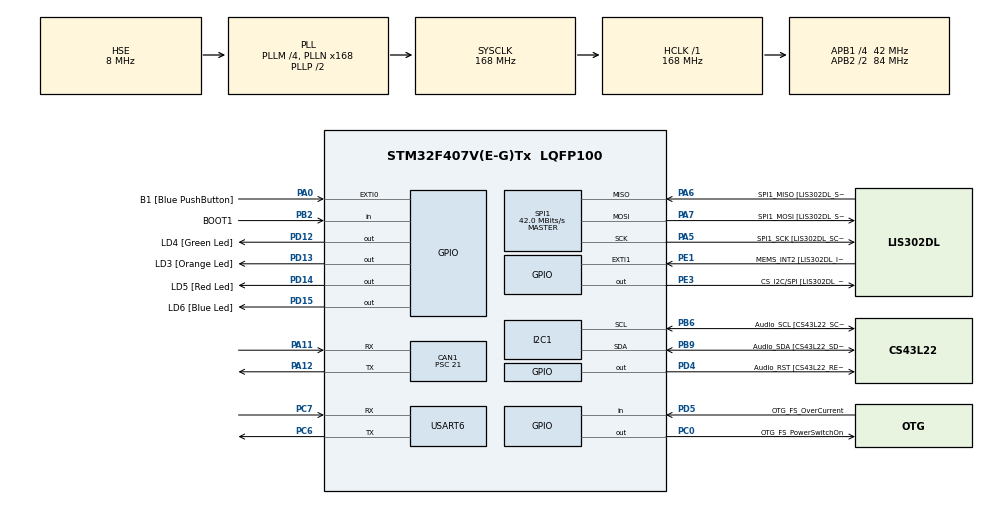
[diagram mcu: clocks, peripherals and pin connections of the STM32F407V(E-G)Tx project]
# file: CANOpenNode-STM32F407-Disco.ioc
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CAN1.BS1=CAN_BS1_14TQ
CAN1.BS2=CAN_BS2_5TQ
CAN1.CalculateBaudRate=100000
CAN1.CalculateTimeBit=10000
CAN1.CalculateTimeQuantum=500.0
CAN1.Mode=CAN_MODE_LOOPBACK
CAN1.Prescaler=21
Mcu.Family=STM32F4
Mcu.Name=STM32F407V(E-G)Tx
Mcu.Package=LQFP100
NVIC.CAN1_RX0_IRQn=true\:0\:0\:false\:false\:true\:true\:true\:true
NVIC.CAN1_RX1_IRQn=true\:0\:0\:false\:false\:true\:true\:true\:true
NVIC.CAN1_SCE_IRQn=true\:0\:0\:false\:false\:true\:true\:true\:true
NVIC.CAN1_TX_IRQn=true\:0\:0\:false\:false\:true\:true\:true\:true
NVIC.PriorityGroup=NVIC_PRIORITYGROUP_0
NVIC.TIM8_TRG_COM_TIM14_IRQn=true\:0\:0\:false\:false\:true\:true\:true\:true
NVIC.USART6_IRQn=true\:0\:0\:false\:false\:true\:true\:true\:true
PA0-WKUP.GPIO_Label=B1 [Blue PushButton]
PA0-WKUP.GPIO_ModeDefaultEXTI=GPIO_MODE_EVT_RISING
PA0-WKUP.GPIO_PuPd=GPIO_NOPULL
PA0-WKUP.Signal=GPXTI0
PA10.GPIO_Label=OTG_FS_ID
PA10.GPIO_Mode=GPIO_MODE_AF_PP
PA10.GPIO_PuPd=GPIO_NOPULL
PA10.GPIO_Speed=GPIO_SPEED_FREQ_LOW
PA10.Signal=USB_OTG_FS_ID
PA11.Mode=CAN_Activate
PA11.Signal=CAN1_RX
PA12.Mode=CAN_Activate
PA12.Signal=CAN1_TX
PA13.GPIO_Label=SWDIO
PA13.Mode=Serial_Wire
PA13.Signal=SYS_JTMS-SWDIO
PA14.GPIO_Label=SWCLK
PA14.Mode=Serial_Wire
PA14.Signal=SYS_JTCK-SWCLK
PA4.GPIO_Label=I2S3_WS [CS43L22_LRCK]
PA4.GPIO_Mode=GPIO_MODE_AF_PP
PA4.GPIO_PuPd=GPIO_NOPULL
PA4.GPIO_Speed=GPIO_SPEED_FREQ_LOW
PA4.Signal=I2S3_WS
PA5.GPIO_Label=SPI1_SCK [LIS302DL_SCL/SPC]
PA5.GPIO_Mode=GPIO_MODE_AF_PP
PA5.GPIO_PuPd=GPIO_NOPULL
PA5.GPIO_Speed=GPIO_SPEED_FREQ_LOW
PA5.Mode=Full_Duplex_Master
PA5.Signal=SPI1_SCK
PA6.GPIO_Label=SPI1_MISO [LIS302DL_SDO]
PA6.GPIO_Mode=GPIO_MODE_AF_PP
PA6.GPIO_PuPd=GPIO_NOPULL
PA6.GPIO_Speed=GPIO_SPEED_FREQ_LOW
PA6.Mode=Full_Duplex_Master
PA6.Signal=SPI1_MISO
PA7.GPIO_Label=SPI1_MOSI [LIS302DL_SDA/SDI/SDO]
PA7.GPIO_Mode=GPIO_MODE_AF_PP
PA7.GPIO_PuPd=GPIO_NOPULL
PA7.GPIO_Speed=GPIO_SPEED_FREQ_LOW
PA7.Mode=Full_Duplex_Master
PA7.Signal=SPI1_MOSI
PA9.GPIO_Label=VBUS_FS
PA9.GPIO_Mode=GPIO_MODE_INPUT
PA9.GPIO_PuPd=GPIO_NOPULL
PA9.Signal=USB_OTG_FS_VBUS
PB10.GPIO_Label=CLK_IN [MP45DT02_CLK]
PB10.GPIO_Mode=GPIO_MODE_AF_PP
PB10.GPIO_PuPd=GPIO_NOPULL
PB10.GPIO_Speed=GPIO_SPEED_FREQ_LOW
PB10.Signal=I2S2_CK
PB2.GPIO_Label=BOOT1
PB2.GPIO_Mode=GPIO_MODE_INPUT
PB2.GPIO_PuPd=GPIO_NOPULL
PB2.Signal=GPIO_Input
PB3.GPIO_Label=SWO
PB3.Signal=SYS_JTDO-SWO
PB5.Signal=CAN2_RX
PB6.GPIO_Label=Audio_SCL [CS43L22_SCL]
PB6.GPIO_Mode=GPIO_MODE_AF_OD
PB6.GPIO_Pu=GPIO_PULLUP
PB6.GPIO_PuPd=GPIO_NOPULL
PB6.GPIO_Speed=GPIO_SPEED_FREQ_LOW
PB6.Mode=I2C
PB6.Signal=I2C1_SCL
PB9.GPIO_Label=Audio_SDA [CS43L22_SDA]
PB9.GPIO_Mode=GPIO_MODE_AF_OD
PB9.GPIO_Pu=GPIO_PULLUP
PB9.GPIO_PuPd=GPIO_NOPULL
PB9.GPIO_Speed=GPIO_SPEED_FREQ_LOW
PB9.Mode=I2C
PB9.Signal=I2C1_SDA
PC0.GPIO_Label=OTG_FS_PowerSwitchOn
PC0.GPIO_PuPd=GPIO_NOPULL
PC0.GPIO_Speed=GPIO_SPEED_FREQ_LOW
PC0.PinState=GPIO_PIN_SET
PC0.Signal=GPIO_Output
PC10.GPIO_Label=I2S3_SCK [CS43L22_SCLK]
PC10.GPIO_Mode=GPIO_MODE_AF_PP
PC10.GPIO_PuPd=GPIO_NOPULL
PC10.GPIO_Speed=GPIO_SPEED_FREQ_LOW
PC10.Signal=I2S3_CK
PC12.GPIO_Label=I2S3_SD [CS43L22_SDIN]
PC12.GPIO_Mode=GPIO_MODE_AF_PP
PC12.GPIO_PuPd=GPIO_NOPULL
PC12.GPIO_Speed=GPIO_SPEED_FREQ_LOW
PC12.Signal=I2S3_SD
PC14-OSC32_IN.GPIO_Label=PC14-OSC32_IN
PC14-OSC32_IN.Mode=LSE-External-Oscillator
PC14-OSC32_IN.Signal=RCC_OSC32_IN
PC15-OSC32_OUT.GPIO_Label=PC15-OSC32_OUT
PC15-OSC32_OUT.Mode=LSE-External-Oscillator
PC15-OSC32_OUT.Signal=RCC_OSC32_OUT
PC3.GPIO_Label=PDM_OUT [MP45DT02_DOUT]
PC3.GPIO_Mode=GPIO_MODE_AF_PP
PC3.GPIO_PuPd=GPIO_NOPULL
PC3.GPIO_Speed=GPIO_SPEED_FREQ_LOW
PC3.Signal=I2S2_SD
PC6.Mode=Asynchronous
PC6.Signal=USART6_TX
PC7.Mode=Asynchronous
PC7.Signal=USART6_RX
PD12.GPIO_Label=LD4 [Green Led]
PD12.GPIO_PuPd=GPIO_NOPULL
PD12.GPIO_Speed=GPIO_SPEED_FREQ_LOW
PD12.Signal=GPIO_Output
PD13.GPIO_Label=LD3 [Orange Led]
PD13.GPIO_PuPd=GPIO_NOPULL
PD13.GPIO_Speed=GPIO_SPEED_FREQ_LOW
PD13.Signal=GPIO_Output
PD14.GPIO_Label=LD5 [Red Led]
PD14.GPIO_PuPd=GPIO_NOPULL
PD14.GPIO_Speed=GPIO_SPEED_FREQ_LOW
PD14.Signal=GPIO_Output
PD15.GPIO_Label=LD6 [Blue Led]
PD15.GPIO_PuPd=GPIO_NOPULL
PD15.GPIO_Speed=GPIO_SPEED_FREQ_LOW
PD15.Signal=GPIO_Output
PD4.GPIO_Label=Audio_RST [CS43L22_RESET]
PD4.GPIO_PuPd=GPIO_NOPULL
PD4.GPIO_Speed=GPIO_SPEED_FREQ_LOW
PD4.Signal=GPIO_Output
PD5.GPIO_Label=OTG_FS_OverCurrent
PD5.GPIO_Mode=GPIO_MODE_INPUT
PD5.GPIO_PuPd=GPIO_NOPULL
PD5.Signal=GPIO_Input
PE1.GPIO_Label=MEMS_INT2 [LIS302DL_INT2]
PE1.GPIO_ModeDefaultEXTI=GPIO_MODE_EVT_RISING
PE1.GPIO_PuPd=GPIO_NOPULL
PE1.Signal=GPXTI1
PE3.GPIO_Label=CS_I2C/SPI [LIS302DL_CS_I2C/SPI]
PE3.GPIO_PuPd=GPIO_NOPULL
PE3.GPIO_Speed=GPIO_SPEED_FREQ_LOW
PE3.Signal=GPIO_Output
PH0-OSC_IN.GPIO_Label=PH0-OSC_IN
PH0-OSC_IN.Mode=HSE-External-Oscillator
PH0-OSC_IN.Signal=RCC_OSC_IN
PH1-OSC_OUT.GPIO_Label=PH1-OSC_OUT
PH1-OSC_OUT.Mode=HSE-External-Oscillator
PH1-OSC_OUT.Signal=RCC_OSC_OUT
ProjectManager.HeapSize=0x200
ProjectManager.StackSize=0x400
ProjectManager.TargetToolchain=STM32CubeIDE
RCC.48MHZClocksFreq_Value=48000000
RCC.AHBFreq_Value=168000000
RCC.APB1CLKDivider=RCC_HCLK_DIV4
RCC.APB1Freq_Value=42000000
RCC.APB1TimFreq_Value=84000000
RCC.APB2CLKDivider=RCC_HCLK_DIV2
RCC.APB2Freq_Value=84000000
RCC.APB2TimFreq_Value=168000000
RCC.CortexFreq_Value=168000000
RCC.HCLKFreq_Value=168000000
RCC.HSE_VALUE=8000000
RCC.HSI_VALUE=16000000
RCC.PLLI2SN=50
RCC.PLLM=4
RCC.PLLN=168
RCC.PLLQ=7
RCC.PLLSourceVirtual=RCC_PLLSOURCE_HSE
RCC.SYSCLKFreq_VALUE=168000000
RCC.SYSCLKSource=RCC_SYSCLKSOURCE_PLLCLK
RCC.VCOOutputFreq_Value=336000000
SPI1.BaudRatePrescaler=SPI_BAUDRATEPRESCALER_2
SPI1.BaudRatePrescaler-Full_Duplex_Master=SPI_BAUDRATEPRESCALER_2
SPI1.CalculateBaudRate=42.0 MBits/s
SPI1.CalculateBaudRate-Full_Duplex_Master=42.0 MBits/s
SPI1.Direction=SPI_DIRECTION_2LINES
SPI1.Mode=SPI_MODE_MASTER
SPI1.Mode-Full_Duplex_Master=SPI_MODE_MASTER
SPI1.VirtualType=VM_MASTER
TIM14.Period=1000
TIM14.Prescaler=83
USART6.VirtualMode=VM_ASYNC
VP_TIM14_VS_ClockSourceINT.Mode=Enable_Timer
board=STM32F407G-DISC1

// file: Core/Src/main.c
/* USER CODE BEGIN Header */
/**
  ******************************************************************************
  * @file           : main.c
  * @brief          : Main program body
  ******************************************************************************
  * @attention
  *
  * Copyright (c) 2022 STMicroelectronics.
  * All rights reserved.
  *
  * This software is licensed under terms that can be found in the LICENSE file
  * in the root directory of this software component.
  * If no LICENSE file comes with this software, it is provided AS-IS.
  *
  ******************************************************************************
  */
/* USER CODE END Header */
#include "main.h"

/* USER CODE BEGIN Includes */
#include "CO_app_STM32.h"
/* USER CODE END Includes */

/* USER CODE BEGIN PD */
#define UART_NODE

#ifdef UART_NODE
#define CANOPEN_ID 1
#else
#define CANOPEN_ID 3
#endif
/* USER CODE END PD */

CAN_HandleTypeDef hcan1;

I2C_HandleTypeDef hi2c1;

SPI_HandleTypeDef hspi1;

TIM_HandleTypeDef htim14;

UART_HandleTypeDef huart6;

void SystemClock_Config(void);
static void MX_GPIO_Init(void);
static void MX_I2C1_Init(void);
static void MX_SPI1_Init(void);
static void MX_TIM14_Init(void);
static void MX_CAN1_Init(void);
static void MX_USART6_UART_Init(void);

/* USER CODE BEGIN 0 */
/* Timer interrupt function executes every 1 ms */
void
HAL_TIM_PeriodElapsedCallback(TIM_HandleTypeDef* htim) {
    if (htim == canopenNodeSTM32->timerHandle) {
        canopen_app_interrupt();
    }
}
/* USER CODE END 0 */

int main(void)
{

  /* MCU Configuration--------------------------------------------------------*/

  /* Reset of all peripherals, Initializes the Flash interface and the Systick. */
  HAL_Init();

  /* Configure the system clock */
  SystemClock_Config();

  /* Initialize all configured peripherals */
  MX_GPIO_Init();
  MX_I2C1_Init();
  MX_SPI1_Init();
  MX_TIM14_Init();
  MX_CAN1_Init();
  MX_USART6_UART_Init();
  /* USER CODE BEGIN 2 */
  CANopenNodeSTM32 canOpenNodeSTM32;
  canOpenNodeSTM32.CANHandle = &hcan1;
  canOpenNodeSTM32.HWInitFunction = MX_CAN1_Init;
  canOpenNodeSTM32.timerHandle = &htim14;
  canOpenNodeSTM32.desiredNodeID = 1;
  canOpenNodeSTM32.baudrate = 100;
  canopen_app_init(&canOpenNodeSTM32);
  /* USER CODE END 2 */

  /* Infinite loop */
  /* USER CODE BEGIN WHILE */
  while (1)
  {
	  HAL_GPIO_WritePin(LD3_GPIO_Port, LD3_Pin, !canOpenNodeSTM32.outStatusLEDGreen);
	  HAL_GPIO_WritePin(LD4_GPIO_Port, LD4_Pin, !canOpenNodeSTM32.outStatusLEDRed);
	  canopen_app_process();
    /* USER CODE END WHILE */

  }
}

void SystemClock_Config(void)
{
  RCC_OscInitTypeDef RCC_OscInitStruct = {0};
  RCC_ClkInitTypeDef RCC_ClkInitStruct = {0};

  /** Configure the main internal regulator output voltage
  */
  __HAL_RCC_PWR_CLK_ENABLE();
  __HAL_PWR_VOLTAGESCALING_CONFIG(PWR_REGULATOR_VOLTAGE_SCALE1);

  /** Initializes the RCC Oscillators according to the specified parameters
  * in the RCC_OscInitTypeDef structure.
  */
  RCC_OscInitStruct.OscillatorType = RCC_OSCILLATORTYPE_HSE;
  RCC_OscInitStruct.HSEState = RCC_HSE_ON;
  RCC_OscInitStruct.PLL.PLLState = RCC_PLL_ON;
  RCC_OscInitStruct.PLL.PLLSource = RCC_PLLSOURCE_HSE;
  RCC_OscInitStruct.PLL.PLLM = 4;
  RCC_OscInitStruct.PLL.PLLN = 168;
  RCC_OscInitStruct.PLL.PLLP = RCC_PLLP_DIV2;
  RCC_OscInitStruct.PLL.PLLQ = 7;
  if (HAL_RCC_OscConfig(&RCC_OscInitStruct) != HAL_OK)
  {
    Error_Handler();
  }

  /** Initializes the CPU, AHB and APB buses clocks
  */
  RCC_ClkInitStruct.ClockType = RCC_CLOCKTYPE_HCLK|RCC_CLOCKTYPE_SYSCLK
                              |RCC_CLOCKTYPE_PCLK1|RCC_CLOCKTYPE_PCLK2;
  RCC_ClkInitStruct.SYSCLKSource = RCC_SYSCLKSOURCE_PLLCLK;
  RCC_ClkInitStruct.AHBCLKDivider = RCC_SYSCLK_DIV1;
  RCC_ClkInitStruct.APB1CLKDivider = RCC_HCLK_DIV4;
  RCC_ClkInitStruct.APB2CLKDivider = RCC_HCLK_DIV2;

  if (HAL_RCC_ClockConfig(&RCC_ClkInitStruct, FLASH_LATENCY_5) != HAL_OK)
  {
    Error_Handler();
  }
}

static void MX_CAN1_Init(void)
{

  hcan1.Instance = CAN1;
  hcan1.Init.Prescaler = 21;
  hcan1.Init.Mode = CAN_MODE_LOOPBACK;
  hcan1.Init.SyncJumpWidth = CAN_SJW_1TQ;
  hcan1.Init.TimeSeg1 = CAN_BS1_14TQ;
  hcan1.Init.TimeSeg2 = CAN_BS2_5TQ;
  hcan1.Init.TimeTriggeredMode = DISABLE;
  hcan1.Init.AutoBusOff = DISABLE;
  hcan1.Init.AutoWakeUp = DISABLE;
  hcan1.Init.AutoRetransmission = DISABLE;
  hcan1.Init.ReceiveFifoLocked = DISABLE;
  hcan1.Init.TransmitFifoPriority = DISABLE;
  if (HAL_CAN_Init(&hcan1) != HAL_OK)
  {
    Error_Handler();
  }
  /* USER CODE BEGIN CAN1_Init 2 */
//  CAN_FilterTypeDef sFilterConfig;
//   sFilterConfig.FilterBank = 0;
//   sFilterConfig.FilterMode = CAN_FILTERMODE_IDMASK;
//   sFilterConfig.FilterScale = CAN_FILTERSCALE_32BIT;
//   sFilterConfig.FilterIdHigh = 0x0000;
//   sFilterConfig.FilterIdLow = 0x0000;
//   sFilterConfig.FilterMaskIdHigh = 0x0000;
//   sFilterConfig.FilterMaskIdLow = 0x0000;
//   sFilterConfig.FilterFIFOAssignment = CAN_FILTER_FIFO0;
//   sFilterConfig.FilterActivation = ENABLE;
//   sFilterConfig.SlaveStartFilterBank = 14;
//   if(HAL_CAN_ConfigFilter(&hcan1, &sFilterConfig) != HAL_OK)
//   {
// 	  Error_Handler();
//   }
  /* USER CODE END CAN1_Init 2 */

}

static void MX_I2C1_Init(void)
{

  hi2c1.Instance = I2C1;
  hi2c1.Init.ClockSpeed = 100000;
  hi2c1.Init.DutyCycle = I2C_DUTYCYCLE_2;
  hi2c1.Init.OwnAddress1 = 0;
  hi2c1.Init.AddressingMode = I2C_ADDRESSINGMODE_7BIT;
  hi2c1.Init.DualAddressMode = I2C_DUALADDRESS_DISABLE;
  hi2c1.Init.OwnAddress2 = 0;
  hi2c1.Init.GeneralCallMode = I2C_GENERALCALL_DISABLE;
  hi2c1.Init.NoStretchMode = I2C_NOSTRETCH_DISABLE;
  if (HAL_I2C_Init(&hi2c1) != HAL_OK)
  {
    Error_Handler();
  }

}

static void MX_SPI1_Init(void)
{

  /* SPI1 parameter configuration*/
  hspi1.Instance = SPI1;
  hspi1.Init.Mode = SPI_MODE_MASTER;
  hspi1.Init.Direction = SPI_DIRECTION_2LINES;
  hspi1.Init.DataSize = SPI_DATASIZE_8BIT;
  hspi1.Init.CLKPolarity = SPI_POLARITY_LOW;
  hspi1.Init.CLKPhase = SPI_PHASE_1EDGE;
  hspi1.Init.NSS = SPI_NSS_SOFT;
  hspi1.Init.BaudRatePrescaler = SPI_BAUDRATEPRESCALER_2;
  hspi1.Init.FirstBit = SPI_FIRSTBIT_MSB;
  hspi1.Init.TIMode = SPI_TIMODE_DISABLE;
  hspi1.Init.CRCCalculation = SPI_CRCCALCULATION_DISABLE;
  hspi1.Init.CRCPolynomial = 10;
  if (HAL_SPI_Init(&hspi1) != HAL_OK)
  {
    Error_Handler();
  }

}

static void MX_TIM14_Init(void)
{

  htim14.Instance = TIM14;
  htim14.Init.Prescaler = 83;
  htim14.Init.CounterMode = TIM_COUNTERMODE_UP;
  htim14.Init.Period = 1000;
  htim14.Init.ClockDivision = TIM_CLOCKDIVISION_DIV1;
  htim14.Init.AutoReloadPreload = TIM_AUTORELOAD_PRELOAD_DISABLE;
  if (HAL_TIM_Base_Init(&htim14) != HAL_OK)
  {
    Error_Handler();
  }

}

static void MX_USART6_UART_Init(void)
{

  huart6.Instance = USART6;
  huart6.Init.BaudRate = 115200;
  huart6.Init.WordLength = UART_WORDLENGTH_8B;
  huart6.Init.StopBits = UART_STOPBITS_1;
  huart6.Init.Parity = UART_PARITY_NONE;
  huart6.Init.Mode = UART_MODE_TX_RX;
  huart6.Init.HwFlowCtl = UART_HWCONTROL_NONE;
  huart6.Init.OverSampling = UART_OVERSAMPLING_16;
  if (HAL_UART_Init(&huart6) != HAL_OK)
  {
    Error_Handler();
  }

}

static void MX_GPIO_Init(void)
{
  GPIO_InitTypeDef GPIO_InitStruct = {0};

  /* GPIO Ports Clock Enable */
  __HAL_RCC_GPIOE_CLK_ENABLE();
  __HAL_RCC_GPIOC_CLK_ENABLE();
  __HAL_RCC_GPIOH_CLK_ENABLE();
  __HAL_RCC_GPIOA_CLK_ENABLE();
  __HAL_RCC_GPIOB_CLK_ENABLE();
  __HAL_RCC_GPIOD_CLK_ENABLE();

  /*Configure GPIO pin Output Level */
  HAL_GPIO_WritePin(CS_I2C_SPI_GPIO_Port, CS_I2C_SPI_Pin, GPIO_PIN_RESET);

  /*Configure GPIO pin Output Level */
  HAL_GPIO_WritePin(OTG_FS_PowerSwitchOn_GPIO_Port, OTG_FS_PowerSwitchOn_Pin, GPIO_PIN_SET);

  /*Configure GPIO pin Output Level */
  HAL_GPIO_WritePin(GPIOD, LD4_Pin|LD3_Pin|LD5_Pin|LD6_Pin
                          |Audio_RST_Pin, GPIO_PIN_RESET);

  /*Configure GPIO pin : CS_I2C_SPI_Pin */
  GPIO_InitStruct.Pin = CS_I2C_SPI_Pin;
  GPIO_InitStruct.Mode = GPIO_MODE_OUTPUT_PP;
  GPIO_InitStruct.Pull = GPIO_NOPULL;
  GPIO_InitStruct.Speed = GPIO_SPEED_FREQ_LOW;
  HAL_GPIO_Init(CS_I2C_SPI_GPIO_Port, &GPIO_InitStruct);

  /*Configure GPIO pin : OTG_FS_PowerSwitchOn_Pin */
  GPIO_InitStruct.Pin = OTG_FS_PowerSwitchOn_Pin;
  GPIO_InitStruct.Mode = GPIO_MODE_OUTPUT_PP;
  GPIO_InitStruct.Pull = GPIO_NOPULL;
  GPIO_InitStruct.Speed = GPIO_SPEED_FREQ_LOW;
  HAL_GPIO_Init(OTG_FS_PowerSwitchOn_GPIO_Port, &GPIO_InitStruct);

  /*Configure GPIO pin : PDM_OUT_Pin */
  GPIO_InitStruct.Pin = PDM_OUT_Pin;
  GPIO_InitStruct.Mode = GPIO_MODE_AF_PP;
  GPIO_InitStruct.Pull = GPIO_NOPULL;
  GPIO_InitStruct.Speed = GPIO_SPEED_FREQ_LOW;
  GPIO_InitStruct.Alternate = GPIO_AF5_SPI2;
  HAL_GPIO_Init(PDM_OUT_GPIO_Port, &GPIO_InitStruct);

  /*Configure GPIO pin : B1_Pin */
  GPIO_InitStruct.Pin = B1_Pin;
  GPIO_InitStruct.Mode = GPIO_MODE_EVT_RISING;
  GPIO_InitStruct.Pull = GPIO_NOPULL;
  HAL_GPIO_Init(B1_GPIO_Port, &GPIO_InitStruct);

  /*Configure GPIO pin : I2S3_WS_Pin */
  GPIO_InitStruct.Pin = I2S3_WS_Pin;
  GPIO_InitStruct.Mode = GPIO_MODE_AF_PP;
  GPIO_InitStruct.Pull = GPIO_NOPULL;
  GPIO_InitStruct.Speed = GPIO_SPEED_FREQ_LOW;
  GPIO_InitStruct.Alternate = GPIO_AF6_SPI3;
  HAL_GPIO_Init(I2S3_WS_GPIO_Port, &GPIO_InitStruct);

  /*Configure GPIO pin : BOOT1_Pin */
  GPIO_InitStruct.Pin = BOOT1_Pin;
  GPIO_InitStruct.Mode = GPIO_MODE_INPUT;
  GPIO_InitStruct.Pull = GPIO_NOPULL;
  HAL_GPIO_Init(BOOT1_GPIO_Port, &GPIO_InitStruct);

  /*Configure GPIO pin : CLK_IN_Pin */
  GPIO_InitStruct.Pin = CLK_IN_Pin;
  GPIO_InitStruct.Mode = GPIO_MODE_AF_PP;
  GPIO_InitStruct.Pull = GPIO_NOPULL;
  GPIO_InitStruct.Speed = GPIO_SPEED_FREQ_LOW;
  GPIO_InitStruct.Alternate = GPIO_AF5_SPI2;
  HAL_GPIO_Init(CLK_IN_GPIO_Port, &GPIO_InitStruct);

  /*Configure GPIO pins : LD4_Pin LD3_Pin LD5_Pin LD6_Pin
                           Audio_RST_Pin */
  GPIO_InitStruct.Pin = LD4_Pin|LD3_Pin|LD5_Pin|LD6_Pin
                          |Audio_RST_Pin;
  GPIO_InitStruct.Mode = GPIO_MODE_OUTPUT_PP;
  GPIO_InitStruct.Pull = GPIO_NOPULL;
  GPIO_InitStruct.Speed = GPIO_SPEED_FREQ_LOW;
  HAL_GPIO_Init(GPIOD, &GPIO_InitStruct);

  /*Configure GPIO pin : VBUS_FS_Pin */
  GPIO_InitStruct.Pin = VBUS_FS_Pin;
  GPIO_InitStruct.Mode = GPIO_MODE_INPUT;
  GPIO_InitStruct.Pull = GPIO_NOPULL;
  HAL_GPIO_Init(VBUS_FS_GPIO_Port, &GPIO_InitStruct);

  /*Configure GPIO pin : OTG_FS_ID_Pin */
  GPIO_InitStruct.Pin = OTG_FS_ID_Pin;
  GPIO_InitStruct.Mode = GPIO_MODE_AF_PP;
  GPIO_InitStruct.Pull = GPIO_NOPULL;
  GPIO_InitStruct.Speed = GPIO_SPEED_FREQ_LOW;
  GPIO_InitStruct.Alternate = GPIO_AF10_OTG_FS;
  HAL_GPIO_Init(OTG_FS_ID_GPIO_Port, &GPIO_InitStruct);

  /*Configure GPIO pins : I2S3_SCK_Pin I2S3_SD_Pin */
  GPIO_InitStruct.Pin = I2S3_SCK_Pin|I2S3_SD_Pin;
  GPIO_InitStruct.Mode = GPIO_MODE_AF_PP;
  GPIO_InitStruct.Pull = GPIO_NOPULL;
  GPIO_InitStruct.Speed = GPIO_SPEED_FREQ_LOW;
  GPIO_InitStruct.Alternate = GPIO_AF6_SPI3;
  HAL_GPIO_Init(GPIOC, &GPIO_InitStruct);

  /*Configure GPIO pin : OTG_FS_OverCurrent_Pin */
  GPIO_InitStruct.Pin = OTG_FS_OverCurrent_Pin;
  GPIO_InitStruct.Mode = GPIO_MODE_INPUT;
  GPIO_InitStruct.Pull = GPIO_NOPULL;
  HAL_GPIO_Init(OTG_FS_OverCurrent_GPIO_Port, &GPIO_InitStruct);

  /*Configure GPIO pin : PB5 */
  GPIO_InitStruct.Pin = GPIO_PIN_5;
  GPIO_InitStruct.Mode = GPIO_MODE_AF_PP;
  GPIO_InitStruct.Pull = GPIO_NOPULL;
  GPIO_InitStruct.Speed = GPIO_SPEED_FREQ_VERY_HIGH;
  GPIO_InitStruct.Alternate = GPIO_AF9_CAN2;
  HAL_GPIO_Init(GPIOB, &GPIO_InitStruct);

  /*Configure GPIO pin : MEMS_INT2_Pin */
  GPIO_InitStruct.Pin = MEMS_INT2_Pin;
  GPIO_InitStruct.Mode = GPIO_MODE_EVT_RISING;
  GPIO_InitStruct.Pull = GPIO_NOPULL;
  HAL_GPIO_Init(MEMS_INT2_GPIO_Port, &GPIO_InitStruct);

}

void Error_Handler(void)
{
  __disable_irq();
  while (1)
  {
  }
}
